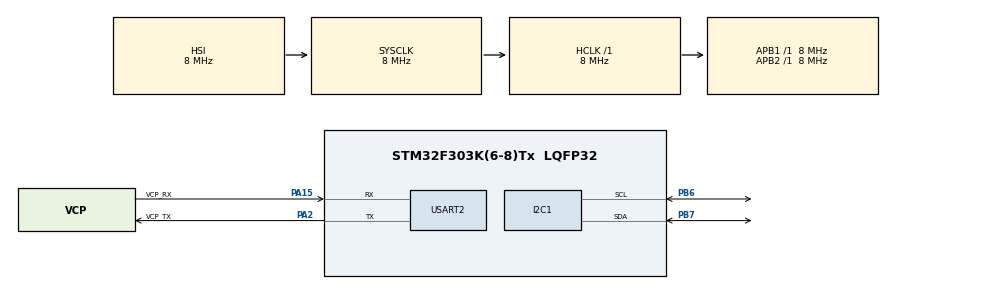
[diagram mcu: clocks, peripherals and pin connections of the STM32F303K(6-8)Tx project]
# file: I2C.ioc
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Mcu.Family=STM32F3
Mcu.Name=STM32F303K(6-8)Tx
Mcu.Package=LQFP32
NVIC.PriorityGroup=NVIC_PRIORITYGROUP_4
PA13.GPIO_Label=SWDIO
PA13.Mode=Serial_Wire
PA13.Signal=SYS_JTMS-SWDIO
PA14.GPIO_Label=SWCLK
PA14.Mode=Serial_Wire
PA14.Signal=SYS_JTCK-SWCLK
PA15.GPIO_Label=VCP_RX
PA15.Mode=Asynchronous
PA15.Signal=USART2_RX
PA2.GPIO_Label=VCP_TX
PA2.Mode=Asynchronous
PA2.Signal=USART2_TX
PB6.Mode=I2C
PB6.Signal=I2C1_SCL
PB7.Mode=I2C
PB7.Signal=I2C1_SDA
PF0\ /\ OSC_IN.GPIO_Label=MCO
PF0\ /\ OSC_IN.Mode=HSE-External-Clock-Source
PF0\ /\ OSC_IN.Signal=RCC_OSC_IN
ProjectManager.HeapSize=0x200
ProjectManager.StackSize=0x400
ProjectManager.TargetToolchain=STM32CubeIDE
RCC.AHBFreq_Value=8000000
RCC.APB1Freq_Value=8000000
RCC.APB2Freq_Value=8000000
RCC.CortexFreq_Value=8000000
RCC.HSE_VALUE=8000000
RCC.HSI_VALUE=8000000
RCC.SYSCLKFreq_VALUE=8000000
USART2.VirtualMode-Asynchronous=VM_ASYNC
board=NUCLEO-F303K8

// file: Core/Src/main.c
/* USER CODE BEGIN Header */
/**
  ******************************************************************************
  * @file           : main.c
  * @brief          : Main program body
  ******************************************************************************
  * @attention
  *
  * Copyright (c) 2024 STMicroelectronics.
  * All rights reserved.
  *
  * This software is licensed under terms that can be found in the LICENSE file
  * in the root directory of this software component.
  * If no LICENSE file comes with this software, it is provided AS-IS.
  *
  ******************************************************************************
  */
/* USER CODE END Header */
#include "main.h"
#include <stdio.h>

I2C_HandleTypeDef hi2c1;

UART_HandleTypeDef huart2;

/* USER CODE BEGIN PV */

static uint8_t AS5600_ADDR = 0x36 << 1;
static uint8_t ANGLE_ADDR = 0x0E;
uint8_t rcvBuf[2];
long adAngle = 0;
uint16_t Angle;
uint16_t pAngle;

/* USER CODE END PV */

void SystemClock_Config(void);
static void MX_GPIO_Init(void);
static void MX_USART2_UART_Init(void);
static void MX_I2C1_Init(void);

int main(void)
{

  /* MCU Configuration--------------------------------------------------------*/

  /* Reset of all peripherals, Initializes the Flash interface and the Systick. */
  HAL_Init();

  /* Configure the system clock */
  SystemClock_Config();

  /* Initialize all configured peripherals */
  MX_GPIO_Init();
  MX_USART2_UART_Init();
  MX_I2C1_Init();

  /* Infinite loop */
  while (1)
  {

    /* USER CODE BEGIN 3 */
	HAL_I2C_Master_Transmit(&hi2c1, AS5600_ADDR, &ANGLE_ADDR, 1, 1000);
	HAL_I2C_Master_Receive(&hi2c1, AS5600_ADDR, &rcvBuf, 2, 1000);
	Angle = rcvBuf[0]*256 + rcvBuf[1];
	HAL_Delay(20);
	if(Angle-pAngle>0 && abs(Angle-pAngle)<4000){
		adAngle = adAngle + (Angle-pAngle);
	}else if(Angle-pAngle<0 && abs(Angle-pAngle)<4000){
		adAngle = adAngle + (Angle-pAngle);
	}else if(Angle-pAngle>0 && abs(Angle-pAngle)>4000){
		adAngle = adAngle - ((4095-Angle)+pAngle);
	}else if(Angle-pAngle<0 && abs(Angle-pAngle)>4000){
		adAngle = adAngle + Angle + (4095-pAngle);
	}else{
		adAngle = adAngle;
	}

	pAngle = Angle;
  }
  /* USER CODE END 3 */
}

void SystemClock_Config(void)
{
  RCC_OscInitTypeDef RCC_OscInitStruct = {0};
  RCC_ClkInitTypeDef RCC_ClkInitStruct = {0};
  RCC_PeriphCLKInitTypeDef PeriphClkInit = {0};

  /** Initializes the RCC Oscillators according to the specified parameters
  * in the RCC_OscInitTypeDef structure.
  */
  RCC_OscInitStruct.OscillatorType = RCC_OSCILLATORTYPE_HSI;
  RCC_OscInitStruct.HSIState = RCC_HSI_ON;
  RCC_OscInitStruct.HSICalibrationValue = RCC_HSICALIBRATION_DEFAULT;
  RCC_OscInitStruct.PLL.PLLState = RCC_PLL_NONE;
  if (HAL_RCC_OscConfig(&RCC_OscInitStruct) != HAL_OK)
  {
    Error_Handler();
  }

  /** Initializes the CPU, AHB and APB buses clocks
  */
  RCC_ClkInitStruct.ClockType = RCC_CLOCKTYPE_HCLK|RCC_CLOCKTYPE_SYSCLK
                              |RCC_CLOCKTYPE_PCLK1|RCC_CLOCKTYPE_PCLK2;
  RCC_ClkInitStruct.SYSCLKSource = RCC_SYSCLKSOURCE_HSI;
  RCC_ClkInitStruct.AHBCLKDivider = RCC_SYSCLK_DIV1;
  RCC_ClkInitStruct.APB1CLKDivider = RCC_HCLK_DIV1;
  RCC_ClkInitStruct.APB2CLKDivider = RCC_HCLK_DIV1;

  if (HAL_RCC_ClockConfig(&RCC_ClkInitStruct, FLASH_LATENCY_0) != HAL_OK)
  {
    Error_Handler();
  }
  PeriphClkInit.PeriphClockSelection = RCC_PERIPHCLK_I2C1;
  PeriphClkInit.I2c1ClockSelection = RCC_I2C1CLKSOURCE_HSI;
  if (HAL_RCCEx_PeriphCLKConfig(&PeriphClkInit) != HAL_OK)
  {
    Error_Handler();
  }
}

static void MX_I2C1_Init(void)
{

  hi2c1.Instance = I2C1;
  hi2c1.Init.Timing = 0x2000090E;
  hi2c1.Init.OwnAddress1 = 0;
  hi2c1.Init.AddressingMode = I2C_ADDRESSINGMODE_7BIT;
  hi2c1.Init.DualAddressMode = I2C_DUALADDRESS_DISABLE;
  hi2c1.Init.OwnAddress2 = 0;
  hi2c1.Init.OwnAddress2Masks = I2C_OA2_NOMASK;
  hi2c1.Init.GeneralCallMode = I2C_GENERALCALL_DISABLE;
  hi2c1.Init.NoStretchMode = I2C_NOSTRETCH_DISABLE;
  if (HAL_I2C_Init(&hi2c1) != HAL_OK)
  {
    Error_Handler();
  }

  /** Configure Analogue filter
  */
  if (HAL_I2CEx_ConfigAnalogFilter(&hi2c1, I2C_ANALOGFILTER_ENABLE) != HAL_OK)
  {
    Error_Handler();
  }

  /** Configure Digital filter
  */
  if (HAL_I2CEx_ConfigDigitalFilter(&hi2c1, 0) != HAL_OK)
  {
    Error_Handler();
  }

}

static void MX_USART2_UART_Init(void)
{

  huart2.Instance = USART2;
  huart2.Init.BaudRate = 38400;
  huart2.Init.WordLength = UART_WORDLENGTH_8B;
  huart2.Init.StopBits = UART_STOPBITS_1;
  huart2.Init.Parity = UART_PARITY_NONE;
  huart2.Init.Mode = UART_MODE_TX_RX;
  huart2.Init.HwFlowCtl = UART_HWCONTROL_NONE;
  huart2.Init.OverSampling = UART_OVERSAMPLING_16;
  huart2.Init.OneBitSampling = UART_ONE_BIT_SAMPLE_DISABLE;
  huart2.AdvancedInit.AdvFeatureInit = UART_ADVFEATURE_NO_INIT;
  if (HAL_UART_Init(&huart2) != HAL_OK)
  {
    Error_Handler();
  }

}

static void MX_GPIO_Init(void)
{

  /* GPIO Ports Clock Enable */
  __HAL_RCC_GPIOF_CLK_ENABLE();
  __HAL_RCC_GPIOA_CLK_ENABLE();
  __HAL_RCC_GPIOB_CLK_ENABLE();

}

void Error_Handler(void)
{
  __disable_irq();
  while (1)
  {
  }
}
